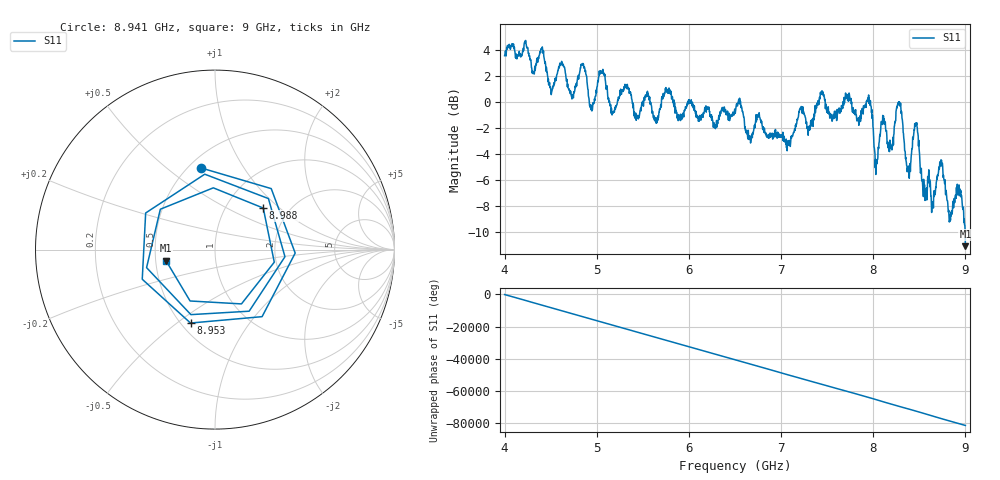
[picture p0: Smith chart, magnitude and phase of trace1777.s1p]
! Created with skrf 1.8.0 (http://scikit-rf.org).
# Hz S RI R 50.0
!freq ReS11 ImS11
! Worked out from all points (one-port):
!   1601 points, 4 GHz to 9 GHz, reference 50 ohm
!   lowest |S11| = -11.1 dB at 9 GHz (marker M1), VSWR 1.78, Z = 28.4 - j3.83 ohm
!   |S11| at or under -10 dB: 8.997142 GHz to end of sweep
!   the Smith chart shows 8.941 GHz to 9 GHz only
!   S11 on the Smith chart (normalised r, x): 8.941 GHz: 0.57, +0.66; 8.953 GHz: 0.56, -0.56; 8.988 GHz: 1.49, +0.79; 9 GHz: 0.57, -0.08
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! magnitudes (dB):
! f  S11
! 4 GHz  3.5
! 4.403 GHz  4.1
! 4.506 GHz  0.5
! 4.625 GHz  2.8
! 4.734 GHz  0.5
! 4.853 GHz  2.9
! 4.944 GHz  -0.5
! 5.05 GHz  2.2
! 5.169 GHz  -0.9
! 5.25 GHz  0.5
! 5.875 GHz  -1.1
! 6.5 GHz  -0.9
! 7.125 GHz  -2.6
! 7.441 GHz  0.6
! 7.75 GHz  0.1
! 7.959 GHz  -0.1
! 8.034 GHz  -4.7
! 8.194 GHz  -3.3
! 8.281 GHz  -0.2
! 8.375 GHz  -5.1
! 8.462 GHz  -1.6
! 8.559 GHz  -6.9
! 8.731 GHz  -4.7
! 8.834 GHz  -8.7
! 8.941 GHz  -6.7
! 8.953 GHz  -7.3
! 8.988 GHz  -9.0
! 9 GHz  -11.1
